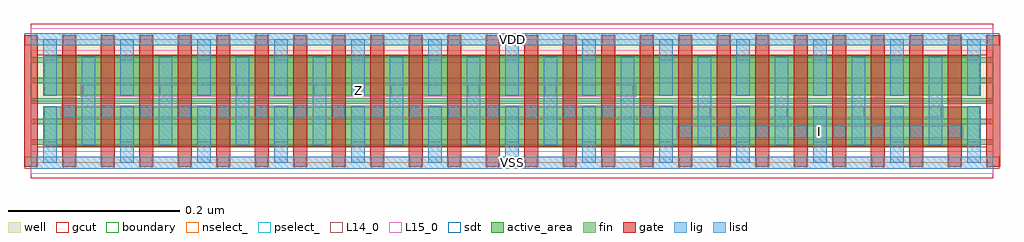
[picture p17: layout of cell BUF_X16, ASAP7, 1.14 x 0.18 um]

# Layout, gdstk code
import gdstk
lib = gdstk.Library(unit=1e-6, precision=2.5e-10)
def R(c, l, rs):  # rectangles x0, y0, x1, y1
    for r in rs: c.add(gdstk.rectangle(r[:2], r[2:], *l))
def A(c, l, x, y, w, h, nx, ny, dx, dy):  # array of equal rectangles
    R(c, l, [(x+i*dx, y+j*dy, x+i*dx+w, y+j*dy+h) for i in range(nx) for j in range(ny)])
well = (1, 0)
fin = (2, 0)
gate = (7, 0)
gcut = (10, 0)
active_area = (11, 0)
nselect_ = (12, 0)
pselect_ = (13, 0)
L14_0 = (14, 0)
L15_0 = (15, 0)
lig = (16, 0)
lisd = (17, 0)
sdt = (88, 0)
boundary = (100, 0)

buf_x16 = lib.new_cell('BUF_X16')
R(buf_x16, well, [(0,0.072,1.125,0.144)])
A(buf_x16, fin, 0, 0.021, 1.125, 0.006, 1, 5, 0, 0.024)
A(buf_x16, gate, -0.008, -0.005, 0.016, 0.154, 26, 1, 0.045, 0)
R(buf_x16, gcut, [(0,-0.0185,1.125,0.0185), (-0.008,-0.005,0.008,0.149), (1.117,-0.005,1.133,0.149), (0,0.1255,1.125,0.1625)])
A(buf_x16, active_area, 0.0155, 0.019, 0.059, 0.046, 24, 2, 0.045, 0.06)
R(buf_x16, nselect_, [(0,0,1.125,0.072)])
R(buf_x16, pselect_, [(0,0.072,1.125,0.144)])
A(buf_x16, L14_0, -0.007, -0.007, 0.014, 0.014, 26, 2, 0.045, 0.144)
A(buf_x16, L14_0, 0.758, 0.029, 0.014, 0.014, 8, 1, 0.045, 0)
A(buf_x16, L14_0, 0.038, 0.053, 0.014, 0.014, 16, 1, 0.045, 0)
A(buf_x16, L14_0, 0.7805, 0.053, 0.014, 0.014, 4, 1, 0.09, 0)
A(buf_x16, L14_0, 0.0605, 0.077, 0.014, 0.014, 8, 1, 0.09, 0)
R(buf_x16, L15_0, [(0,-0.013,1.125,0.013), (0.755,0.029,1.09,0.043), (0.035,0.053,1.0675,0.067), (0.0575,0.077,0.7075,0.091), (0,0.131,1.125,0.157)])
A(buf_x16, lig, 0.758, 0.029, 0.014, 0.014, 8, 1, 0.045, 0)
A(buf_x16, lig, 0.038, 0.053, 0.014, 0.014, 16, 1, 0.045, 0)
R(buf_x16, lig, [(0,-0.007,1.125,0.007), (0,0.137,1.125,0.151)])
R(buf_x16, lisd, [(0.0145,0,0.0305,0.066), (0.1045,0,0.1205,0.066), (0.1045,0,0.1205,0.066), (0.1945,0,0.2105,0.066), (0.1945,0,0.2105,0.066), (0.2845,0,0.3005,0.066), (0.2845,0,0.3005,0.066), (0.3745,0,0.3905,0.066), (0.3745,0,0.3905,0.066), (0.4645,0,0.4805,0.066), (0.4645,0,0.4805,0.066), (0.5545,0,0.5705,0.066), (0.5545,0,0.5705,0.066), (0.6445,0,0.6605,0.066), (0.6445,0,0.6605,0.066), (0.7345,0,0.7505,0.066), (0.7345,0,0.7505,0.066), (0.8245,0,0.8405,0.066), (0.8245,0,0.8405,0.066), (0.9145,0,0.9305,0.066), (0.9145,0,0.9305,0.066), (1.0045,0,1.0205,0.066), (1.0045,0,1.0205,0.066), (1.0945,0,1.1105,0.066), (0.0595,0.02,0.0755,0.124), (0.0595,0.02,0.0755,0.124), (0.1495,0.02,0.1655,0.124), (0.1495,0.02,0.1655,0.124), (0.2395,0.02,0.2555,0.124), (0.2395,0.02,0.2555,0.124), (0.3295,0.02,0.3455,0.124), (0.3295,0.02,0.3455,0.124), (0.4195,0.02,0.4355,0.124), (0.4195,0.02,0.4355,0.124), (0.5095,0.02,0.5255,0.124), (0.5095,0.02,0.5255,0.124), (0.5995,0.02,0.6155,0.124), (0.5995,0.02,0.6155,0.124), (0.6895,0.02,0.7055,0.124), (0.6895,0.02,0.7055,0.124), (0.7795,0.02,0.7955,0.124), (0.7795,0.02,0.7955,0.124), (0.8695,0.02,0.8855,0.124), (0.8695,0.02,0.8855,0.124), (0.9595,0.02,0.9755,0.124), (0.9595,0.02,0.9755,0.124), (1.0495,0.02,1.0655,0.124), (1.0495,0.02,1.0655,0.124), (0.0145,0.078,0.0305,0.144), (0.1045,0.078,0.1205,0.144), (0.1045,0.078,0.1205,0.144), (0.1945,0.078,0.2105,0.144), (0.1945,0.078,0.2105,0.144), (0.2845,0.078,0.3005,0.144), (0.2845,0.078,0.3005,0.144), (0.3745,0.078,0.3905,0.144), (0.3745,0.078,0.3905,0.144), (0.4645,0.078,0.4805,0.144), (0.4645,0.078,0.4805,0.144), (0.5545,0.078,0.5705,0.144), (0.5545,0.078,0.5705,0.144), (0.6445,0.078,0.6605,0.144), (0.6445,0.078,0.6605,0.144), (0.7345,0.078,0.7505,0.144), (0.7345,0.078,0.7505,0.144), (0.8245,0.078,0.8405,0.144), (0.8245,0.078,0.8405,0.144), (0.9145,0.078,0.9305,0.144), (0.9145,0.078,0.9305,0.144), (1.0045,0.078,1.0205,0.144), (1.0045,0.078,1.0205,0.144), (1.0945,0.078,1.1105,0.144)])
R(buf_x16, sdt, [(0.0595,0.02,0.0755,0.124), (0.0595,0.02,0.0755,0.124), (0.1495,0.02,0.1655,0.124), (0.1495,0.02,0.1655,0.124), (0.2395,0.02,0.2555,0.124), (0.2395,0.02,0.2555,0.124), (0.3295,0.02,0.3455,0.124), (0.3295,0.02,0.3455,0.124), (0.4195,0.02,0.4355,0.124), (0.4195,0.02,0.4355,0.124), (0.5095,0.02,0.5255,0.124), (0.5095,0.02,0.5255,0.124), (0.5995,0.02,0.6155,0.124), (0.5995,0.02,0.6155,0.124), (0.6895,0.02,0.7055,0.124), (0.6895,0.02,0.7055,0.124), (0.7795,0.02,0.7955,0.124), (0.7795,0.02,0.7955,0.124), (0.8695,0.02,0.8855,0.124), (0.8695,0.02,0.8855,0.124), (0.9595,0.02,0.9755,0.124), (0.9595,0.02,0.9755,0.124), (1.0495,0.02,1.0655,0.124), (1.0495,0.02,1.0655,0.124), (0.0145,0.024,0.0305,0.066), (0.1045,0.024,0.1205,0.066), (0.1045,0.024,0.1205,0.066), (0.1945,0.024,0.2105,0.066), (0.1945,0.024,0.2105,0.066), (0.2845,0.024,0.3005,0.066), (0.2845,0.024,0.3005,0.066), (0.3745,0.024,0.3905,0.066), (0.3745,0.024,0.3905,0.066), (0.4645,0.024,0.4805,0.066), (0.4645,0.024,0.4805,0.066), (0.5545,0.024,0.5705,0.066), (0.5545,0.024,0.5705,0.066), (0.6445,0.024,0.6605,0.066), (0.6445,0.024,0.6605,0.066), (0.7345,0.024,0.7505,0.066), (0.7345,0.024,0.7505,0.066), (0.8245,0.024,0.8405,0.066), (0.8245,0.024,0.8405,0.066), (0.9145,0.024,0.9305,0.066), (0.9145,0.024,0.9305,0.066), (1.0045,0.024,1.0205,0.066), (1.0045,0.024,1.0205,0.066), (1.0945,0.024,1.1105,0.066), (0.0145,0.078,0.0305,0.12), (0.1045,0.078,0.1205,0.12), (0.1045,0.078,0.1205,0.12), (0.1945,0.078,0.2105,0.12), (0.1945,0.078,0.2105,0.12), (0.2845,0.078,0.3005,0.12), (0.2845,0.078,0.3005,0.12), (0.3745,0.078,0.3905,0.12), (0.3745,0.078,0.3905,0.12), (0.4645,0.078,0.4805,0.12), (0.4645,0.078,0.4805,0.12), (0.5545,0.078,0.5705,0.12), (0.5545,0.078,0.5705,0.12), (0.6445,0.078,0.6605,0.12), (0.6445,0.078,0.6605,0.12), (0.7345,0.078,0.7505,0.12), (0.7345,0.078,0.7505,0.12), (0.8245,0.078,0.8405,0.12), (0.8245,0.078,0.8405,0.12), (0.9145,0.078,0.9305,0.12), (0.9145,0.078,0.9305,0.12), (1.0045,0.078,1.0205,0.12), (1.0045,0.078,1.0205,0.12), (1.0945,0.078,1.1105,0.12)])
R(buf_x16, boundary, [(0,0,1.125,0.144)])
buf_x16.add(gdstk.Label('VDD', (0.5625,0.144), layer=1, texttype=251))
buf_x16.add(gdstk.Label('VSS', (0.5625,0), layer=3, texttype=251))
buf_x16.add(gdstk.Label('Z', (0.3825,0.084), layer=15, texttype=251))
buf_x16.add(gdstk.Label('I', (0.9225,0.036), layer=15, texttype=251))
buf_x16.add(gdstk.Label('VSS', (0.5625,0), layer=15, texttype=251))
buf_x16.add(gdstk.Label('VDD', (0.5625,0.144), layer=15, texttype=251))

lib.write_gds('BUF_X16.gds')
